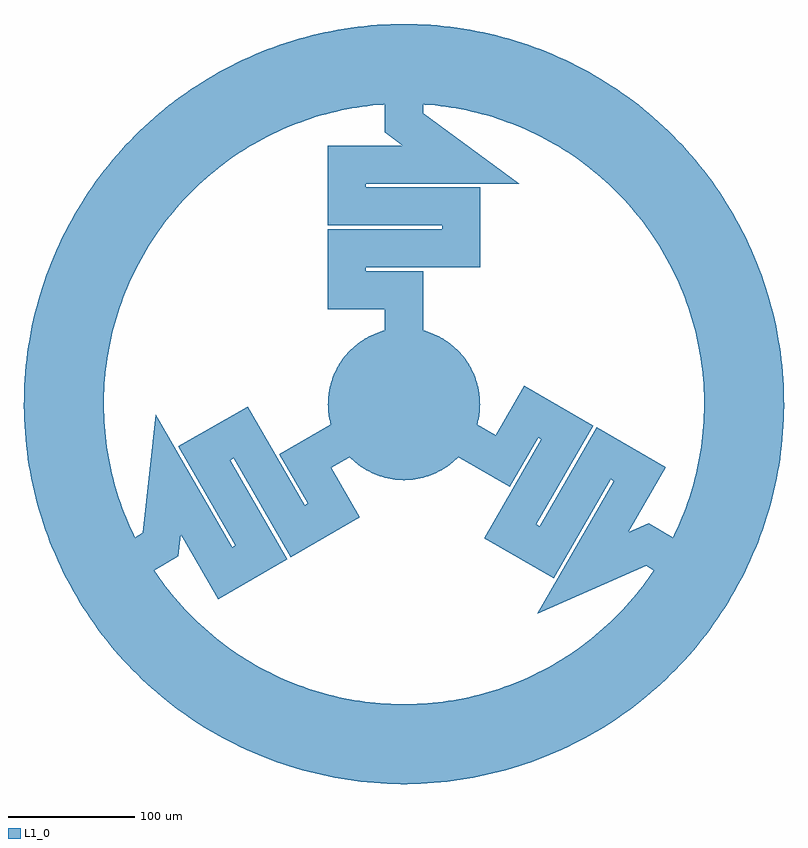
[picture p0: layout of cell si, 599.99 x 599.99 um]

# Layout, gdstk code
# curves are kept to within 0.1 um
import gdstk
lib = gdstk.Library(unit=1e-6, precision=1e-09)
def P(c, l, *ps):  # polygons
    for p in ps: c.add(gdstk.Polygon(p, *l))
L1_0 = (1, 0)

c_si = lib.new_cell('si')
P(c_si, L1_0, [(-0.525,-59.998),(-6.811,-59.612),(-11.995,-58.789),(-18.091,-57.208),(-23.022,-55.408),(-28.703,-52.689),(-34.067,-49.391),(-39.057,-45.548),(-42.888,-41.96),(-46.391,-38.051),(-50.124,-32.979),(-53.305,-27.543),(-55.508,-22.779),(-57.59,-16.835),(-58.841,-11.738),(-59.747,-5.505),(-59.995,0.788),(-59.582,7.072),(-58.736,12.252),(-57.128,18.341),(-54.891,24.228),(-52.049,29.848),(-49.241,34.283),(-45.376,39.256),(-41.772,43.071),(-37.848,46.557),(-32.759,50.268),(-27.31,53.425),(-22.536,55.607),(-17.59,57.364),(-11.48,58.892),(-5.244,59.77),(1.05,59.991),(7.332,59.55),(12.509,58.682),(17.59,57.364),(23.506,55.204),(29.163,52.436),(33.634,49.687),(38.657,45.888),(43.253,41.583),(47.374,36.82),(50.411,32.539),(53.544,27.076),(56.087,21.314),(58.012,15.318),(59.129,10.189),(59.793,4.982),(59.986,-1.313),(59.518,-7.593),(58.626,-12.766),(57.286,-17.841),(55.101,-23.747),(52.308,-29.392),(49.539,-33.851),(46.391,-38.051),(42.147,-42.704),(38.254,-46.224),(33.198,-49.979),(27.776,-53.184),(23.022,-55.408),(17.087,-57.515),(10.964,-58.99),(4.721,-59.814)],
  [(-2.625,-299.989),(-18.366,-299.437),(-34.055,-298.061),(-49.651,-295.863),(-59.975,-293.944),(-75.319,-290.391),(-90.455,-286.038),(-105.342,-280.897),(-119.939,-274.981),(-134.205,-268.308),(-143.513,-263.447),(-157.141,-255.552),(-170.336,-246.953),(-183.062,-237.673),(-191.268,-231.121),(-203.134,-220.764),(-214.44,-209.799),(-221.651,-202.166),(-231.955,-190.255),(-241.62,-177.819),(-250.62,-164.893),(-256.237,-156.021),(-264.072,-142.359),(-271.179,-128.304),(-277.539,-113.895),(-283.134,-99.172),(-287.949,-84.176),(-290.718,-74.047),(-294.204,-58.688),(-296.878,-43.167),(-298.207,-32.751),(-299.515,-17.055),(-299.997,-1.313),(-299.653,14.434),(-298.964,24.912),(-297.909,35.359),(-295.643,50.945),(-292.562,66.391),(-288.674,81.653),(-283.991,96.691),(-280.433,106.57),(-276.532,116.319),(-270.046,130.672),(-262.816,144.664),(-254.862,158.258),(-249.167,167.08),(-243.167,175.698),(-233.611,188.217),(-226.881,196.278),(-219.873,204.098),(-208.859,215.356),(-197.269,226.02),(-185.135,236.062),(-183.917,237),(0,237),(-12.438,236.673),(-20.713,236.093),(-28.963,235.224),(-37.177,234.066),(-45.346,232.621),(-57.492,229.921),(-69.479,226.587),(-77.367,224.017),(-85.159,221.172),(-96.649,216.398),(-104.163,212.883),(-111.55,209.107),(-118.799,205.075),(-125.903,200.792),(-136.268,193.907),(-146.257,186.489),(-152.693,181.256),(-158.943,175.801),(-167.951,167.217),(-173.7,161.237),(-179.236,155.059),(-187.127,145.439),(-192.102,138.801),(-196.842,131.993),(-201.341,125.024),(-205.593,117.901),(-211.497,106.948),(-215.11,99.481),(-218.46,91.892),(-222.982,80.3),(-225.655,72.448),(-228.053,64.506),(-231.124,52.449),(-233.558,40.247),(-234.823,32.048),(-235.801,23.81),(-236.726,11.402),(-236.98,3.111),(-236.943,-5.185),(-236.345,-17.613),(-235.584,-25.873),(-234.534,-34.102),(-232.421,-46.364),(-230.656,-54.469),(-228.608,-62.508),(-225.013,-74.419),(-222.27,-82.249),(-219.256,-89.977),(-214.232,-101.36),(-210.553,-108.795),(-206.617,-116.097),(-202.427,-123.257),(-197.99,-130.266),(-190.88,-140.477),(-183.245,-150.301),(-177.872,-156.622),(-172.282,-162.751),(-166.481,-168.681),(-160.476,-174.404),(-151.101,-182.585),(-141.311,-190.264),(-134.566,-195.092),(-127.656,-199.682),(-117,-206.107),(-109.715,-210.075),(-102.296,-213.786),(-94.752,-217.235),(-87.091,-220.418),(-75.403,-224.685),(-63.508,-228.333),(-55.478,-230.415),(-47.38,-232.216),(-39.224,-233.732),(-31.02,-234.961),(-18.646,-236.265),(-10.367,-236.773),(-2.074,-236.991),(10.367,-236.773),(22.779,-235.903),(31.02,-234.961),(39.224,-233.732),(51.437,-231.351),(59.502,-229.409),(67.494,-227.186),(79.324,-223.331),(87.091,-220.418),(94.752,-217.235),(106.022,-211.963),(113.375,-208.123),(120.589,-204.028),(131.131,-197.418),(137.959,-192.708),(144.619,-187.761),(154.274,-179.913),(160.476,-174.404),(166.481,-168.681),(175.104,-159.711),(183.245,-150.301),(190.88,-140.477),(195.679,-133.711),(200.239,-126.781),(206.617,-116.097),(212.425,-105.094),(215.973,-97.595),(219.256,-89.977),(223.676,-78.346),(227.479,-66.499),(230.656,-54.469),(233.197,-42.289),(235.095,-29.992),(236.345,-17.613),(236.816,-9.33),(236.98,3.111),(236.726,11.402),(235.801,23.81),(234.823,32.048),(233.558,40.247),(231.124,52.449),(228.053,64.506),(224.353,76.386),(220.035,88.055),(215.11,99.481),(209.593,110.634),(205.593,117.901),(201.341,125.024),(194.502,135.418),(187.127,145.439),(179.236,155.059),(173.7,161.237),(167.951,167.217),(161.996,172.993),(152.693,181.256),(146.257,186.489),(136.268,193.907),(129.398,198.558),(122.37,202.964),(115.192,207.123),(104.163,212.883),(96.649,216.398),(89.017,219.647),(77.367,224.017),(69.479,226.587),(61.507,228.88),(53.459,230.892),(41.268,233.379),(28.963,235.224),(16.578,236.419),(4.148,236.964),(-183.917,237),(-172.491,245.452),(-163.795,251.339),(-150.379,259.589),(-141.202,264.692),(-131.852,269.472),(-122.341,273.921),(-112.679,278.035),(-97.932,283.565),(-87.949,286.819),(-72.775,291.039),(-57.4,294.458),(-47.06,296.286),(-36.662,297.751),(-26.219,298.852),(-15.744,299.587),(0,300),(15.744,299.587),(26.219,298.852),(41.867,297.064),(57.4,294.458),(72.775,291.039),(87.949,286.819),(102.88,281.808),(112.679,278.035),(127.116,271.738),(141.202,264.692),(154.899,256.917),(168.169,248.434),(180.975,239.266),(193.283,229.438),(205.058,218.978),(212.596,211.667),(219.873,204.098),(230.281,192.277),(240.055,179.927),(249.167,167.08),(257.592,153.773),(265.308,140.042),(272.292,125.926),(276.532,116.319),(280.433,106.57),(285.64,91.706),(290.059,76.589),(293.679,61.26),(296.489,45.763),(298.482,30.14),(299.653,14.434),(299.997,-1.313),(299.515,-17.055),(298.207,-32.751),(296.878,-43.167),(294.204,-58.688),(290.718,-74.047),(287.949,-84.176),(283.134,-99.172),(277.539,-113.895),(271.179,-128.304),(264.072,-142.359),(256.237,-156.021),(250.62,-164.893),(241.62,-177.819),(231.955,-190.255),(221.651,-202.166),(210.735,-213.52),(203.134,-220.764),(191.268,-231.121),(178.874,-240.84),(165.988,-249.896),(152.645,-258.263),(143.513,-263.447),(129.489,-270.615),(115.108,-277.038),(100.41,-282.697),(85.435,-287.577),(70.225,-291.665),(54.821,-294.949),(39.266,-297.419),(23.603,-299.07),(7.875,-299.897)])
c_si.add(gdstk.FlexPath([(0,0),(0,90),(-45,90),(-45,123),(45,123),(45,156),(-45,156),(-45,189),(45,189),(45,189),(0,222),(0,237)], 30, ends="flush", simple_path=True, layer=1, datatype=0))  # L1_0
c_si.add(gdstk.FlexPath([(0,0),(-77.942,-45),(-55.442,-83.971),(-84.021,-100.471),(-129.021,-22.529),(-157.6,-39.029),(-112.6,-116.971),(-141.179,-133.471),(-186.179,-55.529),(-186.179,-55.529),(-192.258,-111),(-205.248,-118.5)], 30, ends="flush", simple_path=True, layer=1, datatype=0))  # L1_0
c_si.add(gdstk.FlexPath([(0,0),(77.942,-45),(100.442,-6.029),(129.021,-22.529),(84.021,-100.471),(112.6,-116.971),(157.6,-39.029),(186.179,-55.529),(141.179,-133.471),(141.179,-133.471),(192.258,-111),(205.248,-118.5)], 30, ends="flush", simple_path=True, layer=1, datatype=0))  # L1_0

lib.write_gds('si.gds')
